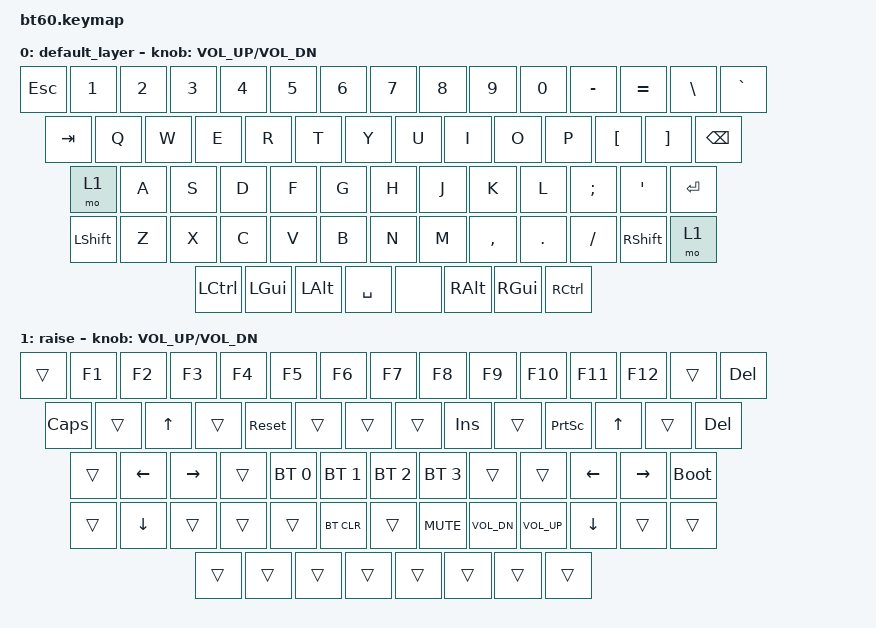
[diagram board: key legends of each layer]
#include <behaviors.dtsi>
#include <dt-bindings/zmk/keys.h>
#include <dt-bindings/zmk/bt.h>

/ {
	keymap {
		compatible = "zmk,keymap";

		default_layer {
				// ------------------------------------------------------------------------------------------
				// | ESC |  1  |  2  |  3  |  4  |  5  |  6  |  7  |  8  |  9  |  0  |  -  |  =  |   BKSP   |
				// | TAB  |  Q  |  W  |  E  |  R  |  T  |  Y  |  U  |  I  |  O  |  P  |  [  |  ]  |   "|"   |
				// | CAPS  |  A  |  S  |  D  |  F  |  G  |  H  |  J  |  K  |  L  |  ;  |  '  |     ENTER    |
				// |  SHIFT    |  Z  |  X  |  C  |  V  |  B  |  N  |  M  |  ,  |  .  | /   |     SHIFT      |
				// |  CTL  |  WIN  |  ALT  |                     SPACE               |   ALT   |  1  | CTRL |
				// ------------------------------------------------------------------------------------------
			bindings = <
				&kp ESC &kp N1 &kp N2 &kp N3 &kp N4 &kp N5 &kp N6 &kp N7 &kp  N8   &kp  N9 &kp  N0  &kp MINUS &kp EQUAL &kp BSLH &kp GRAVE
				&kp TAB  &kp Q  &kp W  &kp E  &kp R  &kp T  &kp Y  &kp U  &kp  I    &kp  O  &kp  P   &kp LBKT &kp RBKT  &kp BSPC
				&mo 1 &kp A  &kp S  &kp D  &kp F  &kp G  &kp H  &kp J  &kp  K    &kp  L  &kp SEMI &kp SQT           &kp RET
				&kp LSHFT  &kp Z  &kp X  &kp C  &kp V  &kp B  &kp N  &kp M  &kp COMMA &kp DOT &kp FSLH    &kp RSHFT    &mo 1
				&kp LCTRL &kp LGUI &kp LALT            &kp SPACE                          &none &kp RALT &kp RGUI &kp RCTRL				
			>;
			sensor-bindings = <&inc_dec_kp C_VOL_UP C_VOL_DN>;
		};
		raise {
			bindings = <
				&trans &kp F1 &kp F2 &kp F3 &kp F4 &kp F5 &kp F6 &kp F7 &kp  F8   &kp  F9 &kp  F10  &kp F11 &kp F12   &trans &kp DEL
				&kp CAPS &trans &kp UP &trans &sys_reset &trans &trans &trans &kp INS &trans &kp PSCRN &kp UP &trans &kp DEL
				&trans    &kp LEFT &kp RIGHT &trans &bt BT_SEL 0 &bt BT_SEL 1 &bt BT_SEL 2 &bt BT_SEL 3 &trans &trans &kp LEFT  &kp RIGHT   &bootloader
				&trans &kp DOWN &trans &trans &trans &bt BT_CLR &trans &kp C_MUTE &kp C_VOL_DN &kp C_VOL_UP &kp DOWN &trans &trans
				&trans &trans  &trans                       &trans                            &trans  &trans &trans &trans
			>;
			sensor-bindings = <&inc_dec_kp C_VOL_UP C_VOL_DN>;
		};
	};
};
